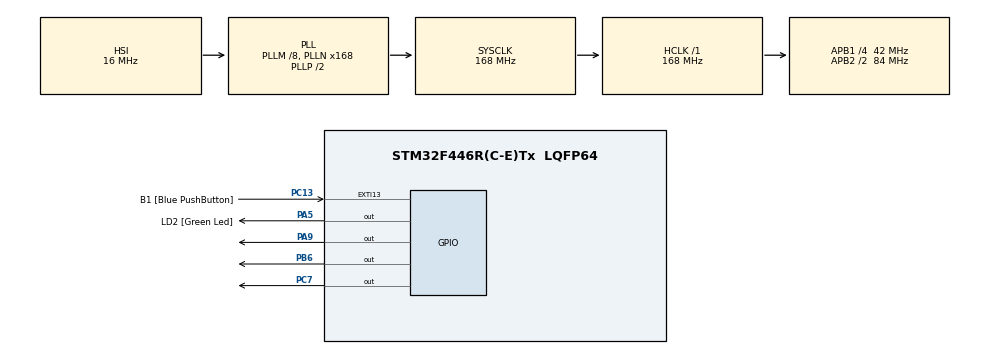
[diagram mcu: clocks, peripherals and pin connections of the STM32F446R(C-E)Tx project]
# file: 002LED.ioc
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Mcu.Family=STM32F4
Mcu.Name=STM32F446R(C-E)Tx
Mcu.Package=LQFP64
NVIC.PriorityGroup=NVIC_PRIORITYGROUP_4
NVIC.TIM5_IRQn=true\:0\:0\:false\:false\:true\:false\:true
NVIC.TimeBase=TIM5_IRQn
NVIC.TimeBaseIP=TIM5
PA13.GPIO_Label=TMS
PA13.Signal=SYS_JTMS-SWDIO
PA14.GPIO_Label=TCK
PA14.Signal=SYS_JTCK-SWCLK
PA2.GPIO_Label=USART_TX
PA2.Signal=USART2_TX
PA3.GPIO_Label=USART_RX
PA3.Signal=USART2_RX
PA5.GPIO_Label=LD2 [Green Led]
PA5.Signal=GPIO_Output
PA9.Signal=GPIO_Output
PB3.GPIO_Label=SWO
PB3.Signal=SYS_JTDO-SWO
PB6.Signal=GPIO_Output
PC13.GPIO_Label=B1 [Blue PushButton]
PC13.GPIO_ModeDefaultEXTI=GPIO_MODE_IT_FALLING
PC13.Signal=GPXTI13
PC14-OSC32_IN.Signal=RCC_OSC32_IN
PC15-OSC32_OUT.Signal=RCC_OSC32_OUT
PC7.Signal=GPIO_Output
PH0-OSC_IN.Signal=RCC_OSC_IN
PH1-OSC_OUT.Signal=RCC_OSC_OUT
ProjectManager.HeapSize=0x200
ProjectManager.StackSize=0x400
ProjectManager.TargetToolchain=STM32CubeIDE
RCC.AHBFreq_Value=168000000
RCC.APB1CLKDivider=RCC_HCLK_DIV4
RCC.APB1Freq_Value=42000000
RCC.APB1TimFreq_Value=84000000
RCC.APB2CLKDivider=RCC_HCLK_DIV2
RCC.APB2Freq_Value=84000000
RCC.APB2TimFreq_Value=168000000
RCC.CortexFreq_Value=168000000
RCC.FLatency-AdvancedSettings=FLASH_LATENCY_5
RCC.HCLKFreq_Value=168000000
RCC.HSE_VALUE=8000000
RCC.HSI_VALUE=16000000
RCC.LSE_VALUE=32768
RCC.PLLM=8
RCC.PLLN=168
RCC.SYSCLKFreq_VALUE=168000000
RCC.SYSCLKSource=RCC_SYSCLKSOURCE_PLLCLK
RCC.USBFreq_Value=168000000
RCC.VCOOutputFreq_Value=336000000
VP_SYS_VS_tim5.Mode=TIM5
board=NUCLEO-F446RE

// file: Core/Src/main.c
/* USER CODE BEGIN Header */
/**
  ******************************************************************************
  * @file           : main.c
  * @brief          : Main program body
  ******************************************************************************
  * @attention
  *
  * <h2><center>&copy; Copyright (c) 2022 STMicroelectronics.
  * All rights reserved.</center></h2>
  *
  * This software component is licensed by ST under BSD 3-Clause license,
  * the "License"; You may not use this file except in compliance with the
  * License. You may obtain a copy of the License at:
  *                        opensource.org/licenses/BSD-3-Clause
  *
  ******************************************************************************
  */
/* USER CODE END Header */

#include "main.h"

/* USER CODE BEGIN Includes */
#include "FreeRTOS.h"
#include "task.h"
/* USER CODE END Includes */

/* USER CODE BEGIN PV */
#define DWT_CTRL (*(volatile uint32_t*)0xE0001000)
/* USER CODE END PV */

void SystemClock_Config(void);
static void MX_GPIO_Init(void);
/* USER CODE BEGIN PFP */
void LedRedTask(void *parameter);
void LedGreenTask(void *parameter);
void LedYellowTask(void *parameter);
extern void SEGGER_UART_init(U32 baud);
/* USER CODE END PFP */

int main(void)
{
  /* USER CODE BEGIN 1 */
	TaskHandle_t GreenTaskHandle;
	TaskHandle_t RedTaskHandle;
	TaskHandle_t YellowTaskHandle;
	BaseType_t status;
  /* USER CODE END 1 */

  /* MCU Configuration--------------------------------------------------------*/

  /* Reset of all peripherals, Initializes the Flash interface and the Systick. */
  HAL_Init();

  /* Configure the system clock */
  SystemClock_Config();

  /* Initialize all configured peripherals */
  MX_GPIO_Init();

  //To Start the Sysview recording we have to Call these
  SEGGER_UART_init(250000);//UART

  /* USER CODE BEGIN 2 */
  DWT_CTRL |= (1<<0); //Set the zeroth bit to one //SEGGER UART

  SEGGER_SYSVIEW_Conf();
//  SEGGER_SYSVIEW_Start(); //Already done in UART

  status = xTaskCreate( LedGreenTask, "Led_Green_Task", 200, NULL , 2, &GreenTaskHandle );
  configASSERT(status == pdPASS);
  status = xTaskCreate( LedRedTask, "Led_Red_Task", 200, NULL , 2, &RedTaskHandle );
  configASSERT(status == pdPASS);
  status = xTaskCreate( LedYellowTask, "Led_Yellow_Task", 200, NULL , 2, &YellowTaskHandle );
  configASSERT(status == pdPASS);
  /* USER CODE END 2 */

  /* Infinite loop */
  /* USER CODE BEGIN WHILE */
  vTaskStartScheduler();
  while (1)
  {
    /* USER CODE END WHILE */

  }
}

void SystemClock_Config(void)
{
  RCC_OscInitTypeDef RCC_OscInitStruct = {0};
  RCC_ClkInitTypeDef RCC_ClkInitStruct = {0};

  /** Configure the main internal regulator output voltage
  */
  __HAL_RCC_PWR_CLK_ENABLE();
  __HAL_PWR_VOLTAGESCALING_CONFIG(PWR_REGULATOR_VOLTAGE_SCALE1);
  /** Initializes the CPU, AHB and APB busses clocks
  */
  RCC_OscInitStruct.OscillatorType = RCC_OSCILLATORTYPE_HSI;
  RCC_OscInitStruct.HSIState = RCC_HSI_ON;
  RCC_OscInitStruct.HSICalibrationValue = RCC_HSICALIBRATION_DEFAULT;
  RCC_OscInitStruct.PLL.PLLState = RCC_PLL_ON;
  RCC_OscInitStruct.PLL.PLLSource = RCC_PLLSOURCE_HSI;
  RCC_OscInitStruct.PLL.PLLM = 8;
  RCC_OscInitStruct.PLL.PLLN = 168;
  RCC_OscInitStruct.PLL.PLLP = RCC_PLLP_DIV2;
  RCC_OscInitStruct.PLL.PLLQ = 2;
  RCC_OscInitStruct.PLL.PLLR = 2;
  if (HAL_RCC_OscConfig(&RCC_OscInitStruct) != HAL_OK)
  {
    Error_Handler();
  }
  /** Initializes the CPU, AHB and APB busses clocks
  */
  RCC_ClkInitStruct.ClockType = RCC_CLOCKTYPE_HCLK|RCC_CLOCKTYPE_SYSCLK
                              |RCC_CLOCKTYPE_PCLK1|RCC_CLOCKTYPE_PCLK2;
  RCC_ClkInitStruct.SYSCLKSource = RCC_SYSCLKSOURCE_PLLCLK;
  RCC_ClkInitStruct.AHBCLKDivider = RCC_SYSCLK_DIV1;
  RCC_ClkInitStruct.APB1CLKDivider = RCC_HCLK_DIV4;
  RCC_ClkInitStruct.APB2CLKDivider = RCC_HCLK_DIV2;

  if (HAL_RCC_ClockConfig(&RCC_ClkInitStruct, FLASH_LATENCY_5) != HAL_OK)
  {
    Error_Handler();
  }
}

static void MX_GPIO_Init(void)
{
  GPIO_InitTypeDef GPIO_InitStruct = {0};

  /* GPIO Ports Clock Enable */
  __HAL_RCC_GPIOC_CLK_ENABLE();
  __HAL_RCC_GPIOH_CLK_ENABLE();
  __HAL_RCC_GPIOA_CLK_ENABLE();
  __HAL_RCC_GPIOB_CLK_ENABLE();

  /*Configure GPIO pin Output Level */
  HAL_GPIO_WritePin(GPIOA, LD2_Pin|GPIO_PIN_9, GPIO_PIN_RESET);

  /*Configure GPIO pin Output Level */
  HAL_GPIO_WritePin(GPIOC, GPIO_PIN_7, GPIO_PIN_RESET);

  /*Configure GPIO pin Output Level */
  HAL_GPIO_WritePin(GPIOB, GPIO_PIN_6, GPIO_PIN_RESET);

  /*Configure GPIO pin : B1_Pin */
  GPIO_InitStruct.Pin = B1_Pin;
  GPIO_InitStruct.Mode = GPIO_MODE_IT_FALLING;
  GPIO_InitStruct.Pull = GPIO_NOPULL;
  HAL_GPIO_Init(B1_GPIO_Port, &GPIO_InitStruct);

  /*Configure GPIO pins : USART_TX_Pin USART_RX_Pin */
  GPIO_InitStruct.Pin = USART_TX_Pin|USART_RX_Pin;
  GPIO_InitStruct.Mode = GPIO_MODE_AF_PP;
  GPIO_InitStruct.Pull = GPIO_NOPULL;
  GPIO_InitStruct.Speed = GPIO_SPEED_FREQ_VERY_HIGH;
  GPIO_InitStruct.Alternate = GPIO_AF7_USART2;
  HAL_GPIO_Init(GPIOA, &GPIO_InitStruct);

  /*Configure GPIO pins : LD2_Pin PA9 */
  GPIO_InitStruct.Pin = LD2_Pin|GPIO_PIN_9;
  GPIO_InitStruct.Mode = GPIO_MODE_OUTPUT_PP;
  GPIO_InitStruct.Pull = GPIO_NOPULL;
  GPIO_InitStruct.Speed = GPIO_SPEED_FREQ_LOW;
  HAL_GPIO_Init(GPIOA, &GPIO_InitStruct);

  /*Configure GPIO pin : PC7 */
  GPIO_InitStruct.Pin = GPIO_PIN_7;
  GPIO_InitStruct.Mode = GPIO_MODE_OUTPUT_PP;
  GPIO_InitStruct.Pull = GPIO_NOPULL;
  GPIO_InitStruct.Speed = GPIO_SPEED_FREQ_LOW;
  HAL_GPIO_Init(GPIOC, &GPIO_InitStruct);

  /*Configure GPIO pin : PB6 */
  GPIO_InitStruct.Pin = GPIO_PIN_6;
  GPIO_InitStruct.Mode = GPIO_MODE_OUTPUT_PP;
  GPIO_InitStruct.Pull = GPIO_NOPULL;
  GPIO_InitStruct.Speed = GPIO_SPEED_FREQ_LOW;
  HAL_GPIO_Init(GPIOB, &GPIO_InitStruct);

}

/* USER CODE BEGIN 4 */
void LedGreenTask(void *parameter){

	while(1){
		HAL_GPIO_TogglePin(GPIOA, GPIO_PIN_9); //D8 or PA9
		vTaskDelay(1000/portTICK_PERIOD_MS);
		SEGGER_SYSVIEW_PrintfTarget("GREEN LED Task");
//		taskYIELD(); //USED WHEN configUSE_PREEMPTION is zero
	}/*End of Infinite Loop*/
}

void LedRedTask(void *parameter){
	TickType_t last_wakeup_time;
	last_wakeup_time = xTaskGetTickCount();
	while(1){
		HAL_GPIO_TogglePin(GPIOB, GPIO_PIN_6); //D10 or PB6
//		vTaskDelay(250);
		vTaskDelayUntil(&last_wakeup_time,pdMS_TO_TICKS(250));
		SEGGER_SYSVIEW_PrintfTarget("RED LED Task");
//		taskYIELD(); //USED WHEN configUSE_PREEMPTION is zero
	}/*End of Infinite Loop*/
}

void LedYellowTask(void *parameter){

	while(1){
		HAL_GPIO_TogglePin(GPIOC, GPIO_PIN_7); //D9 or PC7
		vTaskDelay(pdMS_TO_TICKS(500));
		SEGGER_SYSVIEW_PrintfTarget("YELLOW LED Task");
//		taskYIELD(); //USED WHEN configUSE_PREEMPTION is zero
	}/*End of Infinite Loop*/
}
/* USER CODE END 4 */

 /**
  * @brief  Period elapsed callback in non blocking mode
  * @note   This function is called  when TIM5 interrupt took place, inside
  * HAL_TIM_IRQHandler(). It makes a direct call to HAL_IncTick() to increment
  * a global variable "uwTick" used as application time base.
  * @param  htim : TIM handle
  * @retval None
  */
void HAL_TIM_PeriodElapsedCallback(TIM_HandleTypeDef *htim)
{
  if (htim->Instance == TIM5) {
    HAL_IncTick();
  }
}

void Error_Handler(void)
{
}

/************************ (C) COPYRIGHT STMicroelectronics *****END OF FILE****/
